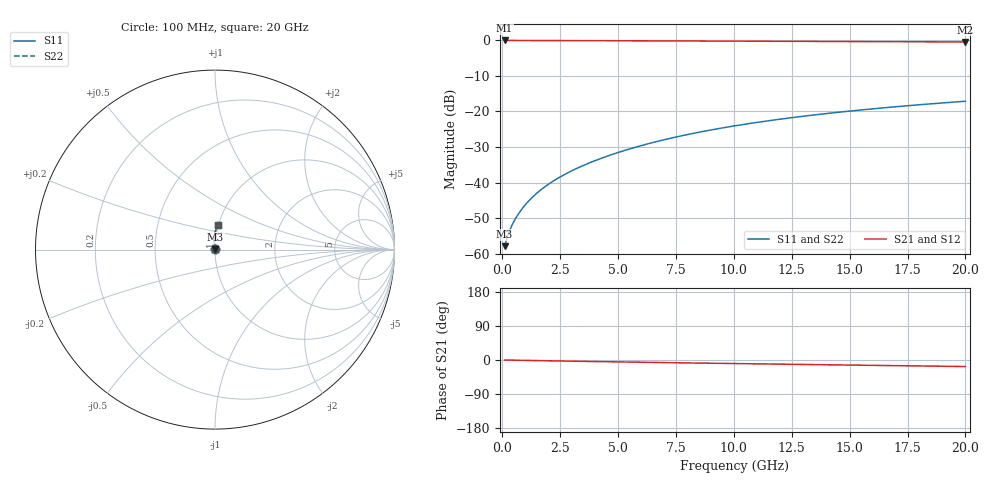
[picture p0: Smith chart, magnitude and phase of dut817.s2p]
! Touchstone file exported from HFSS 2024.1.0
!  File:  C:/UserFiles/LocalFiles/RDL_TSV_Batchsim/temp_RDL_top_817_1779854367.aedt
!  Generated:  12:01:37 PM May 27, 2026
!  Design:  RDL_top
!  Project:  temp_RDL_top_817_1779854367
!  Setup:  Setup1
!  Solution:  Sweep
! Variables:
!  dtsv = 10.80580581um
!  hbump = 3um
!  htsv = 73.61um
!  ldown = 100um
!  lrdl = 257.41um
!  p = 40
!  p1 = 45.4um
!  rhole = 1um
!  t = 450um
!  tdown = 3.915915916um
!  trdl = 3.62um
!  wdown = 15.38538539um
!  wrdl = 29.06um
# GHz S MA R 50.000000
! Terminal data exported
! Port[1] = Box2_T1
! Port[2] = Box2_T2
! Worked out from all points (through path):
!   200 points, 100 MHz to 20 GHz, reference 50 ohm
!   highest |S21| = -0.01 dB at 100 MHz (marker M1); lowest = -0.4 dB at 20 GHz (marker M2)
!   group delay of S21, straight-line fit = 2.36 ps
!   lowest |S11| = -57.9 dB at 100 MHz (marker M3), VSWR 1.00, Z = 50.1 + j0.0592 ohm
!   |S11| at or under -10 dB: start of sweep to end of sweep
!   |S22| runs from -57.9 to -17.1 dB; largest |S21 - S12| = 3e-15
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0.1  0.00127 27.7  0.9989 -0.1  0.9989 -0.1  0.00127 27.7
! Gamma 0 0 0 0
! Port Impedance 50 0 50 0
0.2  0.001648 42.8  0.9988 -0.2  0.9988 -0.2  0.001648 42.8
0.3  0.002046 51.2  0.9987 -0.3  0.9987 -0.3  0.002046 51.2
0.4  0.002436 57.0  0.9986 -0.4  0.9986 -0.4  0.002436 57.0
0.5  0.002827 61.5  0.9985 -0.5  0.9985 -0.5  0.002827 61.5
0.8  0.004039 71.0  0.9982 -0.9  0.9982 -0.9  0.004039 71.0
1  0.004888 75.2  0.998 -1.1  0.998 -1.1  0.004888 75.2
1.2  0.005764 78.4  0.9978 -1.3  0.9978 -1.3  0.005764 78.4
1.7  0.008054 84.0  0.9972 -1.8  0.9972 -1.8  0.008054 84.0
2.2  0.01047 87.7  0.9964 -2.3  0.9964 -2.3  0.01047 87.7
2.8  0.01355 90.8  0.9953 -2.9  0.9953 -2.9  0.01355 90.8
3.5  0.01738 93.3  0.9937 -3.6  0.9937 -3.6  0.01738 93.2
4.2  0.02147 94.9  0.9919 -4.3  0.9919 -4.3  0.02147 94.9
5  0.02645 96.0  0.9896 -5.0  0.9896 -5.0  0.02645 96.0
5.9  0.03239 96.6  0.987 -5.9  0.987 -5.9  0.03239 96.6
6.8  0.03865 96.7  0.9843 -6.7  0.9843 -6.7  0.03864 96.7
8.4  0.05032 96.0  0.9797 -8.0  0.9797 -8.0  0.05032 96.0
10.1  0.06323 94.5  0.975 -9.5  0.975 -9.5  0.06322 94.5
11.7  0.07561 92.8  0.9709 -10.8  0.9709 -10.8  0.0756 92.8
13.4  0.08883 90.9  0.9669 -12.1  0.9669 -12.1  0.08882 90.9
16.7  0.1143 87.0  0.9598 -14.7  0.9598 -14.7  0.1143 87.0
20  0.1393 83.3  0.9531 -17.3  0.9531 -17.3  0.1393 83.3
